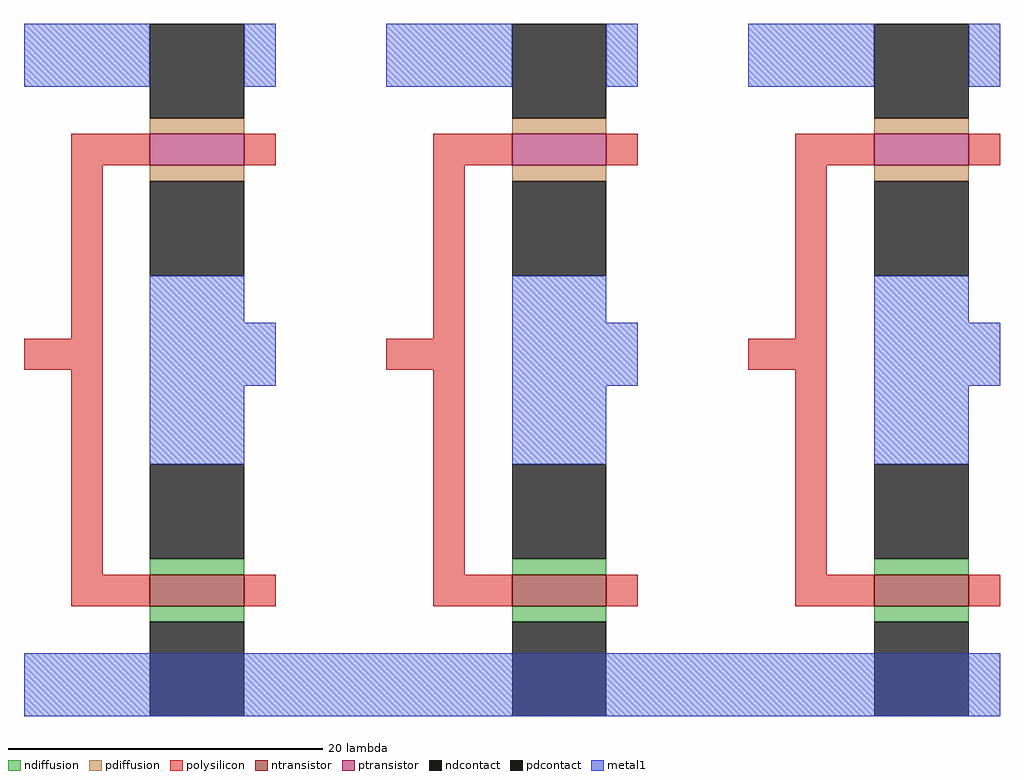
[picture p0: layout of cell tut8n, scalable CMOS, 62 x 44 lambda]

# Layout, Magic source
magic
tech scmos
<< metal1 >>
rect -16 -7 46 -3
use tut8m left
transform 1 0 -16 0 1 -7
box 0 0 16 44
use tut8m center
transform 1 0 7 0 1 -7
box 0 0 16 44
use tut8m right
transform 1 0 30 0 1 -7
box 0 0 16 44
<< end >>

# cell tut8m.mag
magic
tech scmos
<< polysilicon >>
rect 3 35 8 37
rect 14 35 16 37
rect 3 24 5 35
rect 0 22 5 24
rect 3 9 5 22
rect 3 7 8 9
rect 14 7 16 9
<< ndiffusion >>
rect 8 9 14 10
rect 8 6 14 7
<< pdiffusion >>
rect 8 37 14 38
rect 8 34 14 35
<< metal1 >>
rect 0 40 8 44
rect 14 40 16 44
rect 8 25 14 28
rect 8 21 16 25
rect 8 16 14 21
rect 0 0 8 4
rect 14 0 16 4
<< ndcontact >>
rect 8 10 14 16
rect 8 0 14 6
<< pdcontact >>
rect 8 38 14 44
rect 8 28 14 34
<< ntransistor >>
rect 8 7 14 9
<< ptransistor >>
rect 8 35 14 37
<< labels >>
rlabel metal1 0 40 0 44 7 Vdd!
rlabel metal1 0 0 0 4 7 GND!
rlabel polysilicon 0 22 0 24 7 In
rlabel metal1 16 21 16 25 3 Out
<< end >>
